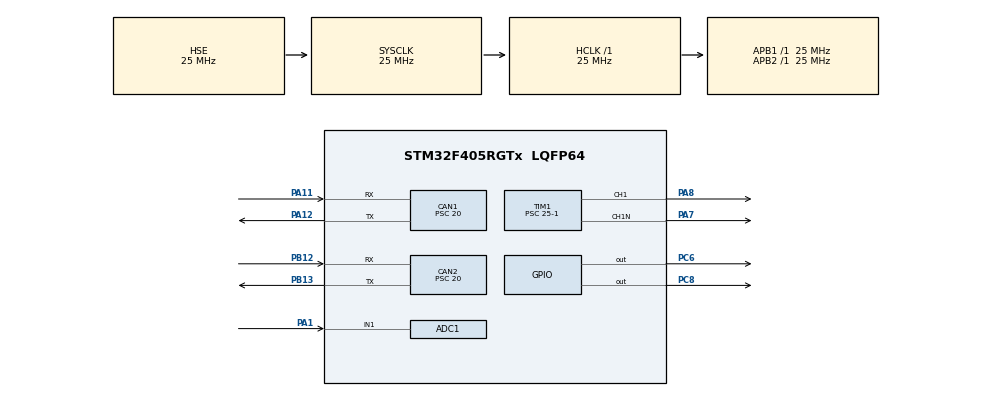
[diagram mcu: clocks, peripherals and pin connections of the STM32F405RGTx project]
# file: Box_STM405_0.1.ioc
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ADC1.Channel-0\#ChannelRegularConversion=ADC_CHANNEL_1
ADC1.NbrOfConversionFlag=1
ADC1.Rank-0\#ChannelRegularConversion=1
ADC1.SamplingTime-0\#ChannelRegularConversion=ADC_SAMPLETIME_3CYCLES
ADC1.master=1
CAN1.ABOM=ENABLE
CAN1.BS1=CAN_BS1_8TQ
CAN1.CalculateBaudRate=125000
CAN1.CalculateTimeBit=8000
CAN1.CalculateTimeQuantum=800.0
CAN1.Prescaler=20
CAN1.RFLM=ENABLE
CAN1.SJW=CAN_SJW_2TQ
CAN1.TXFP=ENABLE
CAN2.ABOM=ENABLE
CAN2.BS1=CAN_BS1_8TQ
CAN2.CalculateBaudRate=125000
CAN2.CalculateTimeBit=8000
CAN2.CalculateTimeQuantum=800.0
CAN2.Prescaler=20
CAN2.RFLM=ENABLE
CAN2.TXFP=ENABLE
Dma.ADC1.0.Direction=DMA_PERIPH_TO_MEMORY
Dma.ADC1.0.FIFOMode=DMA_FIFOMODE_DISABLE
Dma.ADC1.0.Instance=DMA2_Stream0
Dma.ADC1.0.MemDataAlignment=DMA_MDATAALIGN_HALFWORD
Dma.ADC1.0.MemInc=DMA_MINC_ENABLE
Dma.ADC1.0.Mode=DMA_NORMAL
Dma.ADC1.0.PeriphDataAlignment=DMA_PDATAALIGN_HALFWORD
Dma.ADC1.0.PeriphInc=DMA_PINC_DISABLE
Dma.ADC1.0.Priority=DMA_PRIORITY_LOW
Dma.Request0=ADC1
Mcu.Family=STM32F4
Mcu.Name=STM32F405RGTx
Mcu.Package=LQFP64
NVIC.ADC_IRQn=true\:0\:0\:false\:false\:true\:true\:true\:true
NVIC.CAN1_RX0_IRQn=true\:0\:0\:false\:false\:true\:true\:true\:true
NVIC.CAN1_RX1_IRQn=true\:0\:0\:false\:false\:true\:true\:true\:true
NVIC.CAN1_SCE_IRQn=true\:0\:0\:false\:false\:true\:true\:true\:true
NVIC.CAN1_TX_IRQn=true\:0\:0\:false\:false\:true\:true\:true\:true
NVIC.CAN2_RX0_IRQn=true\:0\:0\:false\:false\:true\:true\:true\:true
NVIC.CAN2_RX1_IRQn=true\:0\:0\:false\:false\:true\:true\:true\:true
NVIC.CAN2_SCE_IRQn=true\:0\:0\:false\:false\:true\:true\:true\:true
NVIC.CAN2_TX_IRQn=true\:0\:0\:false\:false\:true\:true\:true\:true
NVIC.DMA2_Stream0_IRQn=true\:0\:0\:false\:false\:true\:false\:true\:true
NVIC.PriorityGroup=NVIC_PRIORITYGROUP_4
NVIC.RCC_IRQn=true\:0\:0\:false\:false\:true\:true\:false\:true
NVIC.TIM1_BRK_TIM9_IRQn=true\:0\:0\:false\:false\:true\:true\:true\:true
NVIC.TIM1_UP_TIM10_IRQn=true\:0\:0\:false\:false\:true\:true\:true\:true
NVIC.TIM7_IRQn=true\:0\:0\:false\:false\:true\:true\:true\:true
PA1.Signal=ADCx_IN1
PA11.Mode=CAN_Activate
PA11.Signal=CAN1_RX
PA12.Mode=CAN_Activate
PA12.Signal=CAN1_TX
PA13.Signal=SYS_JTMS-SWDIO
PA14.Signal=SYS_JTCK-SWCLK
PA7.Mode=PWM Generation1 CH1 CH1N
PA7.Signal=TIM1_CH1N
PA8.Signal=S_TIM1_CH1
PB12.Mode=CAN_Activate
PB12.Signal=CAN2_RX
PB13.Mode=CAN_Activate
PB13.Signal=CAN2_TX
PC6.Signal=GPIO_Output
PC8.Signal=GPIO_Output
PH0-OSC_IN.Mode=HSE-External-Oscillator
PH0-OSC_IN.Signal=RCC_OSC_IN
PH1-OSC_OUT.Mode=HSE-External-Oscillator
PH1-OSC_OUT.Signal=RCC_OSC_OUT
ProjectManager.HeapSize=0x200
ProjectManager.StackSize=0x400
ProjectManager.TargetToolchain=STM32CubeIDE
RCC.48MHZClocksFreq_Value=75000000
RCC.AHBFreq_Value=25000000
RCC.APB1Freq_Value=25000000
RCC.APB1TimFreq_Value=25000000
RCC.APB2Freq_Value=25000000
RCC.APB2TimFreq_Value=25000000
RCC.CortexFreq_Value=25000000
RCC.HCLKFreq_Value=25000000
RCC.HSE_VALUE=25000000
RCC.HSI_VALUE=16000000
RCC.LSE_VALUE=32768
RCC.PLLSourceVirtual=RCC_PLLSOURCE_HSE
RCC.SYSCLKFreq_VALUE=25000000
RCC.SYSCLKSource=RCC_SYSCLKSOURCE_HSE
RCC.VCOOutputFreq_Value=300000000
SH.ADCx_IN1.0=ADC1_IN1,IN1
SH.S_TIM1_CH1.0=TIM1_CH1,PWM Generation1 CH1 CH1N
TIM1.Channel-PWM\ Generation1\ CH1\ CH1N=TIM_CHANNEL_1
TIM1.Period=10000
TIM1.Prescaler=25-1
TIM7.AutoReloadPreload=TIM_AUTORELOAD_PRELOAD_ENABLE
TIM7.Period=60000
TIM7.Prescaler=25-1
VP_TIM7_VS_ClockSourceINT.Mode=Enable_Timer
board=custom

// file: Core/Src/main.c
/* USER CODE BEGIN Header */
/**
  ******************************************************************************
  * @file           : main.c
  * @brief          : Main program body
  ******************************************************************************
  * @attention
  *
  * Copyright (c) 2024 STMicroelectronics.
  * All rights reserved.
  *
  * This software is licensed under terms that can be found in the LICENSE file
  * in the root directory of this software component.
  * If no LICENSE file comes with this software, it is provided AS-IS.
  *
  ******************************************************************************
  */
/* USER CODE END Header */
#include "main.h"

ADC_HandleTypeDef hadc1;
DMA_HandleTypeDef hdma_adc1;

CAN_HandleTypeDef hcan1;
CAN_HandleTypeDef hcan2;

TIM_HandleTypeDef htim1;
TIM_HandleTypeDef htim7;
CAN_FilterTypeDef sFilterConfig;

void SystemClock_Config(void);
static void MX_GPIO_Init(void);
static void MX_DMA_Init(void);
static void MX_CAN1_Init(void);
static void MX_CAN2_Init(void);
static void MX_TIM7_Init(void);
static void MX_TIM1_Init(void);
static void MX_ADC1_Init(void);
/* USER CODE BEGIN PFP */
CAN_TxHeaderTypeDef pTxHeader1; //указатель на структуру `CAN_TxHeaderTypeDef`, которая содержит заголовок сообщения (идентификатор, длину, флаги и т.д.).
CAN_RxHeaderTypeDef pRxHeader1;
CAN_TxHeaderTypeDef pTxHeader2; //указатель на структуру `CAN_TxHeaderTypeDef`, которая содержит заголовок сообщения (идентификатор, длину, флаги и т.д.).
CAN_RxHeaderTypeDef pRxHeader2;
uint8_t TxDataBuff1[8]; // Буффер для отправки в CAN
uint8_t RxDataBuff1[8]; // Буффер для приема из CAN
uint8_t TxDataBuff2[8]; // Буффер для отправки в CAN
uint8_t RxDataBuff2[8]; // Буффер для приема из CAN
uint16_t DataEncoder; // данные с буфера переводим в число FFF

uint32_t adcData[2];
float adcVoltage;
/* USER CODE END PFP */

/* USER CODE BEGIN 0 */

void HAL_TIM_PeriodElapsedCallback(TIM_HandleTypeDef* htim) {
	//HAL_GPIO_WritePin(GPIOC, GPIO_PIN_6|GPIO_PIN_8, GPIO_PIN_SET);

    if(htim->Instance == TIM7) {
    	//HAL_GPIO_TogglePin(GREEN_LED_Port, GREEN_LED_Pin);
    	TIM1->CCR1 = DataEncoder; // duty cycle PWM
    	//TIM1->CCR1 = adcData[0];
    	uint32_t mailBoxNum = 0;
    	HAL_CAN_AddTxMessage(&hcan2, &pTxHeader2, TxDataBuff2, &mailBoxNum);

    	HAL_ADC_Start_DMA(&hadc1, (uint32_t*)adcData,1);

    }
    }

void HAL_CAN_RxFifo0MsgPendingCallback(CAN_HandleTypeDef *hcan) {

	HAL_CAN_GetRxMessage(&hcan2, CAN_RX_FIFO0, &pRxHeader2, RxDataBuff2);

	if (pRxHeader2.StdId==ID2_rx) {
	DataEncoder=RxDataBuff2[0];
    DataEncoder|=RxDataBuff2[1]<<8;

	//	HAL_GPIO_TogglePin(GREEN_LED_Port, GREEN_LED_Pin);
//	if (DataEncoder == 0xb00) HAL_GPIO_WritePin(GPIOC, GREEN_LED_Pin, GPIO_PIN_SET); // Byte0.0:=GVL_WH.LmpSpdSet2;

//    else HAL_GPIO_WritePin(GPIOC, GREEN_LED_Pin, GPIO_PIN_RESET);
//HAL_GPIO_TogglePin(GREEN_LED_Port, GREEN_LED_Pin);

	}
	}

void HAL_ADC_ConvCpltCallback(ADC_HandleTypeDef* hadc)
{
  if(hadc->Instance == ADC1)
  {   TxDataBuff1[0]=adcData[0]>>8;
      TxDataBuff1[1]=adcData[0];

	 uint32_t mailBoxNum = 0;
	 HAL_CAN_AddTxMessage(&hcan1, &pTxHeader1, TxDataBuff1, &mailBoxNum);
	//  HAL_GPIO_WritePin(GPIOC, GREEN_LED_Pin, GPIO_PIN_SET);
 /*   for (uint8_t i = 0; i < ADC_CHANNELS_NUM; i++)
    {
      adcVoltage[i] = adcData[i] * 3.3 / 4095;
    }*/
  }
}
/* USER CODE END 0 */

int main(void)
{

  /* MCU Configuration--------------------------------------------------------*/

  /* Reset of all peripherals, Initializes the Flash interface and the Systick. */
  HAL_Init();

  /* Configure the system clock */
  SystemClock_Config();

  /* Initialize all configured peripherals */
  MX_GPIO_Init();
  MX_DMA_Init();
  MX_CAN1_Init();
  MX_CAN2_Init();
  MX_TIM7_Init();
  MX_TIM1_Init();
  MX_ADC1_Init();
  /* USER CODE BEGIN 2 */
  HAL_TIM_Base_Start_IT(&htim7);
  TIM1->CCR1 = DataEncoder; // MAX 800 PWM GPIO_OUT_HIGH
  //HAL_TIM_PWM_Start(&htim1, TIM_CHANNEL_1);
  HAL_TIM_OC_Start_IT(&htim1, TIM_CHANNEL_1);
  HAL_TIMEx_OCN_Start_IT(&htim1, TIM_CHANNEL_1);

  /* USER CODE END 2 */

  /* Infinite loop */
  while (1)
  {

  }
}

void SystemClock_Config(void)
{
  RCC_OscInitTypeDef RCC_OscInitStruct = {0};
  RCC_ClkInitTypeDef RCC_ClkInitStruct = {0};

  /** Configure the main internal regulator output voltage
  */
  __HAL_RCC_PWR_CLK_ENABLE();
  __HAL_PWR_VOLTAGESCALING_CONFIG(PWR_REGULATOR_VOLTAGE_SCALE1);

  /** Initializes the RCC Oscillators according to the specified parameters
  * in the RCC_OscInitTypeDef structure.
  */
  RCC_OscInitStruct.OscillatorType = RCC_OSCILLATORTYPE_HSE;
  RCC_OscInitStruct.HSEState = RCC_HSE_ON;
  RCC_OscInitStruct.PLL.PLLState = RCC_PLL_NONE;
  if (HAL_RCC_OscConfig(&RCC_OscInitStruct) != HAL_OK)
  {
    Error_Handler();
  }

  /** Initializes the CPU, AHB and APB buses clocks
  */
  RCC_ClkInitStruct.ClockType = RCC_CLOCKTYPE_HCLK|RCC_CLOCKTYPE_SYSCLK
                              |RCC_CLOCKTYPE_PCLK1|RCC_CLOCKTYPE_PCLK2;
  RCC_ClkInitStruct.SYSCLKSource = RCC_SYSCLKSOURCE_HSE;
  RCC_ClkInitStruct.AHBCLKDivider = RCC_SYSCLK_DIV1;
  RCC_ClkInitStruct.APB1CLKDivider = RCC_HCLK_DIV1;
  RCC_ClkInitStruct.APB2CLKDivider = RCC_HCLK_DIV1;

  if (HAL_RCC_ClockConfig(&RCC_ClkInitStruct, FLASH_LATENCY_0) != HAL_OK)
  {
    Error_Handler();
  }
}

static void MX_ADC1_Init(void)
{

  ADC_ChannelConfTypeDef sConfig = {0};

  /** Configure the global features of the ADC (Clock, Resolution, Data Alignment and number of conversion)
  */
  hadc1.Instance = ADC1;
  hadc1.Init.ClockPrescaler = ADC_CLOCK_SYNC_PCLK_DIV2;
  hadc1.Init.Resolution = ADC_RESOLUTION_12B;
  hadc1.Init.ScanConvMode = DISABLE;
  hadc1.Init.ContinuousConvMode = DISABLE;
  hadc1.Init.DiscontinuousConvMode = DISABLE;
  hadc1.Init.ExternalTrigConvEdge = ADC_EXTERNALTRIGCONVEDGE_NONE;
  hadc1.Init.ExternalTrigConv = ADC_SOFTWARE_START;
  hadc1.Init.DataAlign = ADC_DATAALIGN_RIGHT;
  hadc1.Init.NbrOfConversion = 1;
  hadc1.Init.DMAContinuousRequests = DISABLE;
  hadc1.Init.EOCSelection = ADC_EOC_SINGLE_CONV;
  if (HAL_ADC_Init(&hadc1) != HAL_OK)
  {
    Error_Handler();
  }

  /** Configure for the selected ADC regular channel its corresponding rank in the sequencer and its sample time.
  */
  sConfig.Channel = ADC_CHANNEL_1;
  sConfig.Rank = 1;
  sConfig.SamplingTime = ADC_SAMPLETIME_3CYCLES;
  if (HAL_ADC_ConfigChannel(&hadc1, &sConfig) != HAL_OK)
  {
    Error_Handler();
  }

}

static void MX_CAN1_Init(void)
{

  /* USER CODE BEGIN CAN1_Init 0 */
	pTxHeader1.StdId = ID1_tx;
	pTxHeader1.DLC = 8;
	pTxHeader1.TransmitGlobalTime = DISABLE;
	pTxHeader1.RTR = CAN_RTR_DATA;
	pTxHeader1.IDE = CAN_ID_STD;
  /* USER CODE END CAN1_Init 0 */

  hcan1.Instance = CAN1;
  hcan1.Init.Prescaler = 20;
  hcan1.Init.Mode = CAN_MODE_NORMAL;
  hcan1.Init.SyncJumpWidth = CAN_SJW_2TQ;
  hcan1.Init.TimeSeg1 = CAN_BS1_8TQ;
  hcan1.Init.TimeSeg2 = CAN_BS2_1TQ;
  hcan1.Init.TimeTriggeredMode = DISABLE;
  hcan1.Init.AutoBusOff = ENABLE;
  hcan1.Init.AutoWakeUp = DISABLE;
  hcan1.Init.AutoRetransmission = DISABLE;
  hcan1.Init.ReceiveFifoLocked = ENABLE;
  hcan1.Init.TransmitFifoPriority = ENABLE;
  if (HAL_CAN_Init(&hcan1) != HAL_OK)
  {
    Error_Handler();
  }
  /* USER CODE BEGIN CAN1_Init 2 */
  sFilterConfig.FilterFIFOAssignment = CAN_FILTER_FIFO0;
  sFilterConfig.FilterIdHigh = 0; //0x245<<5;
  sFilterConfig.FilterIdLow = 0;
  sFilterConfig.FilterMaskIdHigh = 0;
  sFilterConfig.FilterMaskIdLow = 0;
  sFilterConfig.FilterScale = CAN_FILTERSCALE_32BIT;
  sFilterConfig.FilterActivation = CAN_FILTER_ENABLE;

  HAL_CAN_ConfigFilter(&hcan1,  &sFilterConfig);

  HAL_CAN_Start(&hcan1);
  HAL_CAN_ActivateNotification(&hcan1, CAN_IT_RX_FIFO0_MSG_PENDING);
  /* USER CODE END CAN1_Init 2 */

}

static void MX_CAN2_Init(void)
{

  /* USER CODE BEGIN CAN2_Init 0 */
	pTxHeader2.StdId = ID2_tx;
	pTxHeader2.DLC = 8;
	pTxHeader2.TransmitGlobalTime = DISABLE;
	pTxHeader2.RTR = CAN_RTR_DATA;
	pTxHeader2.IDE = CAN_ID_STD;
  /* USER CODE END CAN2_Init 0 */

  hcan2.Instance = CAN2;
  hcan2.Init.Prescaler = 20;
  hcan2.Init.Mode = CAN_MODE_NORMAL;
  hcan2.Init.SyncJumpWidth = CAN_SJW_1TQ;
  hcan2.Init.TimeSeg1 = CAN_BS1_8TQ;
  hcan2.Init.TimeSeg2 = CAN_BS2_1TQ;
  hcan2.Init.TimeTriggeredMode = DISABLE;
  hcan2.Init.AutoBusOff = ENABLE;
  hcan2.Init.AutoWakeUp = DISABLE;
  hcan2.Init.AutoRetransmission = DISABLE;
  hcan2.Init.ReceiveFifoLocked = ENABLE;
  hcan2.Init.TransmitFifoPriority = ENABLE;
  if (HAL_CAN_Init(&hcan2) != HAL_OK)
  {
    Error_Handler();
  }
  /* USER CODE BEGIN CAN2_Init 2 */
  sFilterConfig.FilterFIFOAssignment = CAN_FILTER_FIFO0;
  sFilterConfig.FilterIdHigh = 0; //0x245<<5;
  sFilterConfig.FilterIdLow = 0;
  sFilterConfig.FilterMaskIdHigh = 0;
  sFilterConfig.FilterMaskIdLow = 0;
  sFilterConfig.FilterScale = CAN_FILTERSCALE_32BIT;
  sFilterConfig.FilterActivation = CAN_FILTER_ENABLE;

  HAL_CAN_ConfigFilter(&hcan2,  &sFilterConfig);

  HAL_CAN_Start(&hcan2);
  HAL_CAN_ActivateNotification(&hcan2, CAN_IT_RX_FIFO0_MSG_PENDING);
  /* USER CODE END CAN2_Init 2 */

}

static void MX_TIM1_Init(void)
{

  TIM_MasterConfigTypeDef sMasterConfig = {0};
  TIM_OC_InitTypeDef sConfigOC = {0};
  TIM_BreakDeadTimeConfigTypeDef sBreakDeadTimeConfig = {0};

  htim1.Instance = TIM1;
  htim1.Init.Prescaler = 25-1;
  htim1.Init.CounterMode = TIM_COUNTERMODE_UP;
  htim1.Init.Period = 10000;
  htim1.Init.ClockDivision = TIM_CLOCKDIVISION_DIV1;
  htim1.Init.RepetitionCounter = 0;
  htim1.Init.AutoReloadPreload = TIM_AUTORELOAD_PRELOAD_DISABLE;
  if (HAL_TIM_PWM_Init(&htim1) != HAL_OK)
  {
    Error_Handler();
  }
  sMasterConfig.MasterOutputTrigger = TIM_TRGO_RESET;
  sMasterConfig.MasterSlaveMode = TIM_MASTERSLAVEMODE_DISABLE;
  if (HAL_TIMEx_MasterConfigSynchronization(&htim1, &sMasterConfig) != HAL_OK)
  {
    Error_Handler();
  }
  sConfigOC.OCMode = TIM_OCMODE_PWM1;
  sConfigOC.Pulse = 0;
  sConfigOC.OCPolarity = TIM_OCPOLARITY_HIGH;
  sConfigOC.OCNPolarity = TIM_OCNPOLARITY_HIGH;
  sConfigOC.OCFastMode = TIM_OCFAST_DISABLE;
  sConfigOC.OCIdleState = TIM_OCIDLESTATE_RESET;
  sConfigOC.OCNIdleState = TIM_OCNIDLESTATE_RESET;
  if (HAL_TIM_PWM_ConfigChannel(&htim1, &sConfigOC, TIM_CHANNEL_1) != HAL_OK)
  {
    Error_Handler();
  }
  sBreakDeadTimeConfig.OffStateRunMode = TIM_OSSR_DISABLE;
  sBreakDeadTimeConfig.OffStateIDLEMode = TIM_OSSI_DISABLE;
  sBreakDeadTimeConfig.LockLevel = TIM_LOCKLEVEL_OFF;
  sBreakDeadTimeConfig.DeadTime = 0;
  sBreakDeadTimeConfig.BreakState = TIM_BREAK_DISABLE;
  sBreakDeadTimeConfig.BreakPolarity = TIM_BREAKPOLARITY_HIGH;
  sBreakDeadTimeConfig.AutomaticOutput = TIM_AUTOMATICOUTPUT_DISABLE;
  if (HAL_TIMEx_ConfigBreakDeadTime(&htim1, &sBreakDeadTimeConfig) != HAL_OK)
  {
    Error_Handler();
  }
  HAL_TIM_MspPostInit(&htim1);

}

static void MX_TIM7_Init(void)
{

  TIM_MasterConfigTypeDef sMasterConfig = {0};

  htim7.Instance = TIM7;
  htim7.Init.Prescaler = 25-1;
  htim7.Init.CounterMode = TIM_COUNTERMODE_UP;
  htim7.Init.Period = 60000;
  htim7.Init.AutoReloadPreload = TIM_AUTORELOAD_PRELOAD_ENABLE;
  if (HAL_TIM_Base_Init(&htim7) != HAL_OK)
  {
    Error_Handler();
  }
  sMasterConfig.MasterOutputTrigger = TIM_TRGO_RESET;
  sMasterConfig.MasterSlaveMode = TIM_MASTERSLAVEMODE_DISABLE;
  if (HAL_TIMEx_MasterConfigSynchronization(&htim7, &sMasterConfig) != HAL_OK)
  {
    Error_Handler();
  }

}

static void MX_DMA_Init(void)
{

  /* DMA controller clock enable */
  __HAL_RCC_DMA2_CLK_ENABLE();

  /* DMA interrupt init */
  /* DMA2_Stream0_IRQn interrupt configuration */
  HAL_NVIC_SetPriority(DMA2_Stream0_IRQn, 0, 0);
  HAL_NVIC_EnableIRQ(DMA2_Stream0_IRQn);

}

static void MX_GPIO_Init(void)
{
  GPIO_InitTypeDef GPIO_InitStruct = {0};

  /* GPIO Ports Clock Enable */
  __HAL_RCC_GPIOH_CLK_ENABLE();
  __HAL_RCC_GPIOA_CLK_ENABLE();
  __HAL_RCC_GPIOB_CLK_ENABLE();
  __HAL_RCC_GPIOC_CLK_ENABLE();

  /*Configure GPIO pin Output Level */
  HAL_GPIO_WritePin(GPIOC, GPIO_PIN_6|GPIO_PIN_8, GPIO_PIN_RESET);

  /*Configure GPIO pins : PC6 PC8 */
  GPIO_InitStruct.Pin = GPIO_PIN_6|GPIO_PIN_8;
  GPIO_InitStruct.Mode = GPIO_MODE_OUTPUT_PP;
  GPIO_InitStruct.Pull = GPIO_NOPULL;
  GPIO_InitStruct.Speed = GPIO_SPEED_FREQ_LOW;
  HAL_GPIO_Init(GPIOC, &GPIO_InitStruct);

}

void Error_Handler(void)
{
  /* USER CODE BEGIN Error_Handler_Debug */
  /* User can add his own implementation to report the HAL error return state */
	HAL_GPIO_WritePin(RED_LED_Port, RED_LED_Pin, GPIO_PIN_RESET);
  __disable_irq();
  while (1)
  {
  }
  /* USER CODE END Error_Handler_Debug */
}
